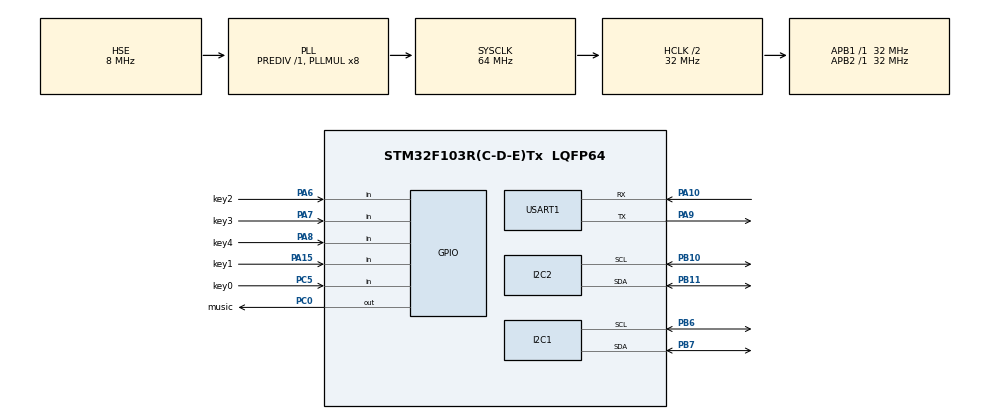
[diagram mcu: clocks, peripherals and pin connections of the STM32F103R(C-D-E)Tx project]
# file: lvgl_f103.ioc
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Mcu.Family=STM32F1
Mcu.Name=STM32F103R(C-D-E)Tx
Mcu.Package=LQFP64
NVIC.PriorityGroup=NVIC_PRIORITYGROUP_4
NVIC.TIM6_IRQn=true\:0\:0\:false\:false\:true\:true\:true
PA10.Mode=Asynchronous
PA10.Signal=USART1_RX
PA13.Mode=Serial_Wire
PA13.Signal=SYS_JTMS-SWDIO
PA14.Mode=Serial_Wire
PA14.Signal=SYS_JTCK-SWCLK
PA15.GPIO_Label=key1
PA15.GPIO_PuPd=GPIO_PULLUP
PA15.Signal=GPIO_Input
PA6.GPIO_Label=key2
PA6.GPIO_PuPd=GPIO_PULLUP
PA6.Signal=GPIO_Input
PA7.GPIO_Label=key3
PA7.GPIO_PuPd=GPIO_PULLUP
PA7.Signal=GPIO_Input
PA8.GPIO_Label=key4
PA8.GPIO_PuPd=GPIO_PULLUP
PA8.Signal=GPIO_Input
PA9.Mode=Asynchronous
PA9.Signal=USART1_TX
PB10.Mode=I2C
PB10.Signal=I2C2_SCL
PB11.Mode=I2C
PB11.Signal=I2C2_SDA
PB6.Mode=I2C
PB6.Signal=I2C1_SCL
PB7.Mode=I2C
PB7.Signal=I2C1_SDA
PC0.GPIO_Label=music
PC0.Signal=GPIO_Output
PC14-OSC32_IN.Mode=LSE-External-Oscillator
PC14-OSC32_IN.Signal=RCC_OSC32_IN
PC15-OSC32_OUT.Mode=LSE-External-Oscillator
PC15-OSC32_OUT.Signal=RCC_OSC32_OUT
PC5.GPIO_Label=key0
PC5.GPIO_PuPd=GPIO_PULLUP
PC5.Signal=GPIO_Input
PD0-OSC_IN.Mode=HSE-External-Oscillator
PD0-OSC_IN.Signal=RCC_OSC_IN
PD1-OSC_OUT.Mode=HSE-External-Oscillator
PD1-OSC_OUT.Signal=RCC_OSC_OUT
ProjectManager.HeapSize=0x200
ProjectManager.StackSize=0x400
ProjectManager.TargetToolchain=STM32CubeIDE
RCC.AHBCLKDivider=RCC_SYSCLK_DIV2
RCC.AHBFreq_Value=32000000
RCC.APB1Freq_Value=32000000
RCC.APB1TimFreq_Value=32000000
RCC.APB2Freq_Value=32000000
RCC.APB2TimFreq_Value=32000000
RCC.HCLKFreq_Value=32000000
RCC.PLLMUL=RCC_PLL_MUL8
RCC.PLLSourceVirtual=RCC_PLLSOURCE_HSE
RCC.SYSCLKFreq_VALUE=64000000
RCC.SYSCLKSource=RCC_SYSCLKSOURCE_PLLCLK
RCC.USBFreq_Value=64000000
TIM6.Period=9999
TIM6.Prescaler=3199
USART1.VirtualMode=VM_ASYNC
VP_TIM6_VS_ClockSourceINT.Mode=Enable_Timer
board=custom

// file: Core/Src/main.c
/* USER CODE BEGIN Header */
/**
  ******************************************************************************
  * @file           : main.c
  * @brief          : Main program body
  ******************************************************************************
  * @attention
  *
  * <h2><center>&copy; Copyright (c) 2022 STMicroelectronics.
  * All rights reserved.</center></h2>
  *
  * This software component is licensed by ST under BSD 3-Clause license,
  * the "License"; You may not use this file except in compliance with the
  * License. You may obtain a copy of the License at:
  *                        opensource.org/licenses/BSD-3-Clause
  *
  ******************************************************************************
  */
/* USER CODE END Header */
#include "main.h"
#include "i2c.h"
#include "tim.h"
#include "usart.h"
#include "gpio.h"

/* USER CODE BEGIN Includes */
#include "oled.h"
#include "u8g2.h"
#include "allmath.h"
#include "allcontrol.h"
/* USER CODE END Includes */

/* USER CODE BEGIN PTD */
int time[7]={2022,6,26,0,0,0};
int time_set_pos[7][2]={{41,20},{62,20},{83,20},{32,62},{90,62},{114,62}};
int time_set[7];
int page=1;
int switch_page=0;
int set_time_pos=0;
int music_pos=0;
int battery=0;
u8g2_t u8g2;
/* USER CODE END PTD */

void SystemClock_Config(void);
/* USER CODE BEGIN PFP */

void init(){
	u8g2Init(&u8g2);
	//display_page_init(u8g2);
	u8g2_ClearDisplay(&u8g2);
	HAL_TIM_Base_Start_IT(&htim6);
	fresh_bat(battery,u8g2);
}
void page1(){
	if(switch_page){
		u8g2_ClearDisplay(&u8g2);
		fresh_bat(battery,u8g2);
		switch_page=0;
	}
	display_page_time(time,u8g2);
	u8g2_SendBuffer(&u8g2);
}
void page2(){
	if(switch_page){
		u8g2_ClearDisplay(&u8g2);
		fresh_bat(battery,u8g2);
		switch_page=0;
		u8g2_DrawXBM(&u8g2,48,5,32,32,set_pic);
		u8g2_SetFont(&u8g2,u8g2_font_t0_14_mf);
		u8g2_DrawStr(&u8g2,38,50,"Set Time");
		u8g2_SendBuffer(&u8g2);
	}
	if(button_sure()){
		page=21;
		switch_page=1;
	}
}
void page3(){
	if(switch_page){
		u8g2_ClearDisplay(&u8g2);
		fresh_bat(battery,u8g2);
		switch_page=0;
		u8g2_DrawXBM(&u8g2,48,5,32,32,tem_pic);
		u8g2_SetFont(&u8g2,u8g2_font_t0_14_mf);
		u8g2_DrawStr(&u8g2,43,50,"E Data");
		u8g2_SendBuffer(&u8g2);
	}
	if(button_sure()){
		page=31;
		switch_page=1;
	}
}
void page4(){
	if(switch_page){
		u8g2_ClearDisplay(&u8g2);
		fresh_bat(battery,u8g2);
		switch_page=0;
		u8g2_DrawXBM(&u8g2,48,5,32,32,card_pic);
		u8g2_SetFont(&u8g2,u8g2_font_t0_14_mf);
		u8g2_DrawStr(&u8g2,45,50,"Card");
		u8g2_SendBuffer(&u8g2);
	}
	if(button_sure()){
		page=41;
		switch_page=1;
	}
}
void page5(){
	if(switch_page){
		u8g2_ClearDisplay(&u8g2);
		fresh_bat(battery,u8g2);
		switch_page=0;
		u8g2_DrawXBM(&u8g2,48,5,32,32,music_pic);
		u8g2_SetFont(&u8g2,u8g2_font_t0_14_mf);
		u8g2_DrawStr(&u8g2,45,50,"Music");
		u8g2_SendBuffer(&u8g2);
	}
	if(button_sure()){
		page=51;
		switch_page=1;
	}
}
void page2_1(){
	if(switch_page){
		u8g2_ClearDisplay(&u8g2);
		fresh_bat(battery,u8g2);
		switch_page=0;
		evaluate_array(time_set,time,6);
		set_time_pos=0;
		display_page_time(time_set,u8g2);
		u8g2_SetFont(&u8g2,u8g2_font_siji_t_6x10);
		//u8g2_DrawGlyph(&u8g2,time_set_pos[0][0],time_set_pos[0][1],0xe12b);
		u8g2_DrawGlyph(&u8g2,time_set_pos[set_time_pos][0],time_set_pos[set_time_pos][1],0xe12b);
		u8g2_SendBuffer(&u8g2);
	}
	if(button_sure()){
		evaluate_array(time,time_set,6);
		page=2;
		switch_page=1;
	}
	if(button_return()){
		page=2;
		switch_page=1;
	}
	if(button_turn()){
		set_time_pos=(set_time_pos+1)%6;
		u8g2_ClearBuffer(&u8g2);
		display_page_time(time_set,u8g2);
		u8g2_SetFont(&u8g2,u8g2_font_siji_t_6x10);
		u8g2_DrawGlyph(&u8g2,time_set_pos[set_time_pos][0],time_set_pos[set_time_pos][1],0xe12b);
		fresh_bat(battery,u8g2);
	}
	if(button_other1()){
		modify_time(time_set,set_time_pos,1);
		display_page_time(time_set,u8g2);
		u8g2_SendBuffer(&u8g2);
	}
}
void page3_1(){
	if(switch_page){
		u8g2_ClearDisplay(&u8g2);
		fresh_bat(battery,u8g2);
		switch_page=0;
	}
	if(button_return()){
		page=3;
		switch_page=1;
	}
}
void page4_1(){
	if(switch_page){
		u8g2_ClearDisplay(&u8g2);
		fresh_bat(battery,u8g2);
		switch_page=0;
		play_card(u8g2,time[3]+time[4]+time[5]);
	}
	if(button_return()){
		page=4;
		switch_page=1;
	}
}
void page5_1(){
	if(switch_page){
		u8g2_ClearDisplay(&u8g2);
		switch_page=0;
		music_pos=1;
		display_page_music(u8g2,music_pos);
		fresh_bat(battery,u8g2);
	}
	if(button_return()){
		page=5;
		switch_page=1;
	}
	if(button_sure()){
		display_music(music_pos);
	}
	if(button_turn()){
		music_pos=(music_pos==5)?1:(music_pos+1);
		fresh_bat(battery,u8g2);
		display_page_music(u8g2,music_pos);
		fresh_bat(battery,u8g2);
	}
}
/* USER CODE END PFP */

int main(void)
{

  /* MCU Configuration--------------------------------------------------------*/

  /* Reset of all peripherals, Initializes the Flash interface and the Systick. */
  HAL_Init();

  /* Configure the system clock */
  SystemClock_Config();

  /* Initialize all configured peripherals */
  MX_GPIO_Init();
  MX_I2C1_Init();
  MX_USART1_UART_Init();
  MX_TIM6_Init();
  MX_I2C2_Init();

  /* Infinite loop */
  /* USER CODE BEGIN WHILE */
  init();
  while (1)
  {
    /* USER CODE END WHILE */

    /* USER CODE BEGIN 3 */
	  if(button_turn()&&page<10){
		  page=page%5+1;
		  switch_page=1;
	  }
	  switch(page){
	  	 case 1:page1();break;
	  	  case 2:page2();break;
	  	  case 3:page3();break;
	  	  case 4:page4();break;
	  	  case 5:page5();break;
	  	  //case 6:page5();break;
	  	  //case 7:page5();break;
	  	  //case 8:page5();break;
	  	  case 21:page2_1();break;
	  	  case 31:page3_1();break;
	  	  case 41:page4_1();break;
	  	  case 51:page5_1();break;

	  }
  }
  /* USER CODE END 3 */
}

void SystemClock_Config(void)
{
  RCC_OscInitTypeDef RCC_OscInitStruct = {0};
  RCC_ClkInitTypeDef RCC_ClkInitStruct = {0};

  /** Initializes the RCC Oscillators according to the specified parameters
  * in the RCC_OscInitTypeDef structure.
  */
  RCC_OscInitStruct.OscillatorType = RCC_OSCILLATORTYPE_HSE;
  RCC_OscInitStruct.HSEState = RCC_HSE_ON;
  RCC_OscInitStruct.HSEPredivValue = RCC_HSE_PREDIV_DIV1;
  RCC_OscInitStruct.HSIState = RCC_HSI_ON;
  RCC_OscInitStruct.PLL.PLLState = RCC_PLL_ON;
  RCC_OscInitStruct.PLL.PLLSource = RCC_PLLSOURCE_HSE;
  RCC_OscInitStruct.PLL.PLLMUL = RCC_PLL_MUL8;
  if (HAL_RCC_OscConfig(&RCC_OscInitStruct) != HAL_OK)
  {
    Error_Handler();
  }
  /** Initializes the CPU, AHB and APB buses clocks
  */
  RCC_ClkInitStruct.ClockType = RCC_CLOCKTYPE_HCLK|RCC_CLOCKTYPE_SYSCLK
                              |RCC_CLOCKTYPE_PCLK1|RCC_CLOCKTYPE_PCLK2;
  RCC_ClkInitStruct.SYSCLKSource = RCC_SYSCLKSOURCE_PLLCLK;
  RCC_ClkInitStruct.AHBCLKDivider = RCC_SYSCLK_DIV2;
  RCC_ClkInitStruct.APB1CLKDivider = RCC_HCLK_DIV1;
  RCC_ClkInitStruct.APB2CLKDivider = RCC_HCLK_DIV1;

  if (HAL_RCC_ClockConfig(&RCC_ClkInitStruct, FLASH_LATENCY_2) != HAL_OK)
  {
    Error_Handler();
  }
}

/* USER CODE BEGIN 4 */
void HAL_TIM_PeriodElapsedCallback(TIM_HandleTypeDef *htim)
{
	if (htim->Instance == TIM6)
		{
		time[5]++;
		next_time(time);
	    }

}
/* USER CODE END 4 */

void Error_Handler(void)
{
}

/************************ (C) COPYRIGHT STMicroelectronics *****END OF FILE****/
